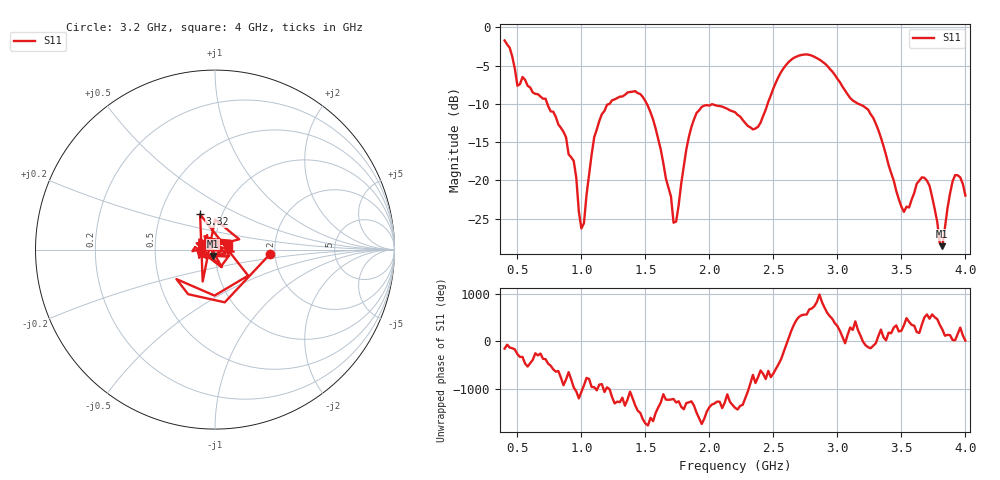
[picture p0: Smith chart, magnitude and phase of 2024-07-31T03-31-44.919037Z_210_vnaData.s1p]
!Created with skrf (http://scikit-rf.org).
# Hz S RI R 50.0
!freq ReS11 ImS11
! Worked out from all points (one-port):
!   181 points, 400 MHz to 4 GHz, reference 50 ohm
!   lowest |S11| = -28.6 dB at 3.82 GHz (marker M1), VSWR 1.08, Z = 48.7 - j3.44 ohm
!   |S11| at or under -10 dB: 734.1 MHz to 1.219 GHz (484.5 MHz wide, 49.6 % of centre); 1.511 GHz to 2.455 GHz (943.5 MHz wide, 47.6 % of centre); 3.165 GHz to end of sweep
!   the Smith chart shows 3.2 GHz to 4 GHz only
!   S11 on the Smith chart (normalised r, x): 3.2 GHz: 1.88, -0.11; 3.32 GHz: 0.79, +0.32; 4 GHz: 1.16, +0.05
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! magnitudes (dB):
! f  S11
! 400 MHz  -1.7
! 500 MHz  -7.6
! 720 MHz  -9.3
! 860 MHz  -13.6
! 940 MHz  -17.4
! 1 GHz  -26.3
! 1.02 GHz  -25.6
! 1.1 GHz  -14.4
! 1.3 GHz  -9.1
! 1.5 GHz  -9.6
! 1.62 GHz  -16.0
! 1.72 GHz  -25.5
! 1.76 GHz  -23.2
! 1.82 GHz  -15.9
! 1.9 GHz  -11.2
! 2.2 GHz  -11.1
! 2.38 GHz  -13.0
! 2.66 GHz  -4.0
! 2.86 GHz  -4.2
! 3.1 GHz  -9.2
! 3.2 GHz  -10.3
! 3.32 GHz  -13.4
! 3.5 GHz  -23.4
! 3.56 GHz  -23.5
! 3.7 GHz  -20.0
! 3.82 GHz  -28.6
! 3.92 GHz  -19.3
! 4 GHz  -22.0
